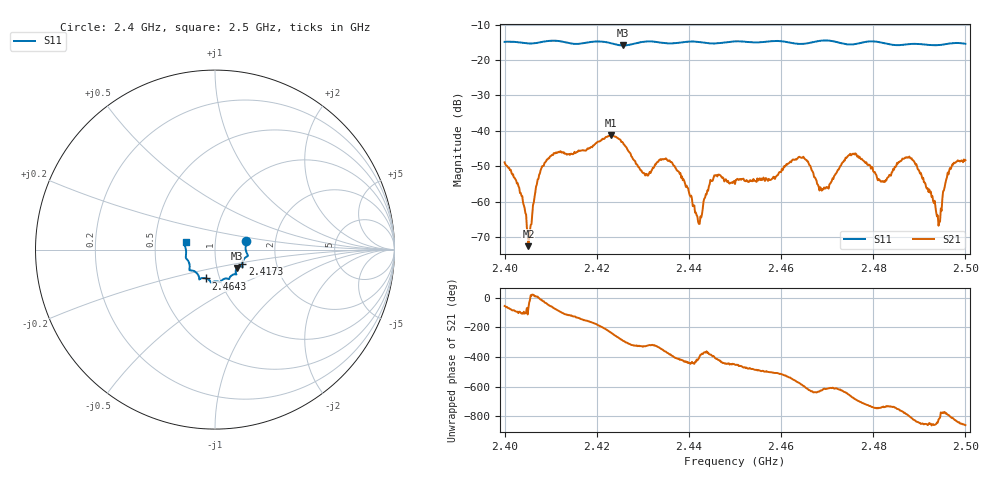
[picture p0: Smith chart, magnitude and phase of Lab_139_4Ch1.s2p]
# Hz S RI R 50
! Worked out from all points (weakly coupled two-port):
!   601 points, 2.4 GHz to 2.5 GHz, reference 50 ohm
!   highest |S21| = -41.31 dB at 2.4232 GHz (marker M1); lowest = -72.6 dB at 2.4052 GHz (marker M2)
!   lowest |S11| = -15.9 dB at 2.4257 GHz (marker M3), VSWR 1.38, Z = 62.5 - j13.1 ohm
!   |S11| at or under -10 dB: start of sweep to end of sweep
!   S12 and S22 are empty: the file has one direction only
!   S11 on the Smith chart (normalised r, x): 2.4 GHz: 1.41, +0.14; 2.4173 GHz: 1.34, -0.23; 2.4643 GHz: 0.86, -0.28; 2.5 GHz: 0.72, +0.06
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2.4e9  0.1731 0.0494  0.00197 -0.00299  0 0  0 0
2.405167e9  0.1704 0.0116  8.6e-05 -0.000219  0 0  0 0
2.408667e9  0.1804 -0.0261  0.00299 -0.00188  0 0  0 0
2.416667e9  0.153 -0.0747  -0.00433 -0.00299  0 0  0 0
2.417333e9  0.1522 -0.082  -0.00465 -0.00247  0 0  0 0
2.423167e9  0.1441 -0.0933  -0.0046 0.00726  0 0  0 0
2.425667e9  0.1231 -0.1021  0.00234 0.00639  0 0  0 0
2.4305e9  0.1186 -0.1376  0.00198 0.00125  0 0  0 0
2.433333e9  0.1129 -0.1371  0.00325 0.00166  0 0  0 0
2.437667e9  0.084 -0.1525  0.00161 -0.00215  0 0  0 0
2.442167e9  0.0739 -0.1635  0.000325 -0.000358  0 0  0 0
2.445167e9  0.0545 -0.1619  0.0016 -0.00117  0 0  0 0
2.45e9  0.0295 -0.1808  -5.2e-05 -0.00177  0 0  0 0
2.464333e9  -0.0499 -0.1606  -0.00298 0.00293  0 0  0 0
2.466667e9  -0.0759 -0.1596  1.27e-05 0.00275  0 0  0 0
2.469833e9  -0.0879 -0.1665  -0.00043 0.00155  0 0  0 0
2.475833e9  -0.1146 -0.1208  0.00363 0.00311  0 0  0 0
2.483333e9  -0.1407 -0.0899  0.00219 -0.000459  0 0  0 0
2.488333e9  -0.161 -0.0489  -8.34e-05 -0.00408  0 0  0 0
2.494167e9  -0.162 0.000403  -9.34e-05 -0.000447  0 0  0 0
2.496667e9  -0.1692 0.0239  0.000479 -0.00294  0 0  0 0
2.5e9  -0.1637 0.0423  -0.00287 -0.00255  0 0  0 0
